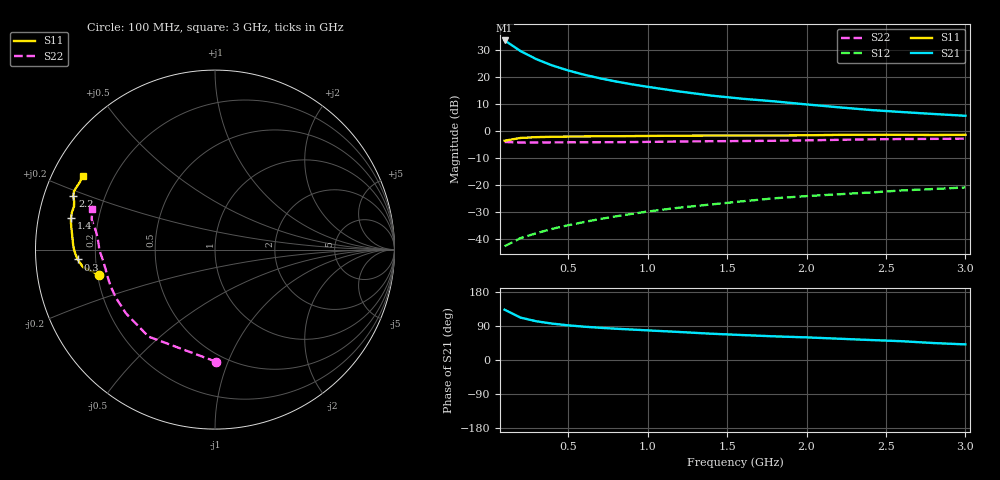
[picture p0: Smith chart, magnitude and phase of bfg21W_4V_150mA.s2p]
! Filename: 4150bfg21.001
! Title: BFG21W
! Bias: Vce=4V; Ic=150mA
! Company: Philips Semiconductors NL
! User: Quality&Reliability T&D
! Measure time: 10 Nov 1999 / 11:46:10
#  MHz  S  MA  R 50
! Freq  S11  S21  S12  S22  :
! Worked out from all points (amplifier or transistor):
!   20 points, 100 MHz to 3 GHz, reference 50 ohm
!   highest |S21| = 33.5 dB at 100 MHz (marker M1)
!   |S21| within 3 dB of that: start of sweep to 176.6 MHz
!   unconditionally stable (mu >= 1): 587.4 MHz to end of sweep
!   at 400 MHz: K = 0.92, MSG = 30.2 dB, |S12| = -36.2 dB
!   at 1.2 GHz: K = 1.06, MAG = 20.0 dB, |S12| = -28.4 dB
!   at 3 GHz: K = 1.05, MAG = 11.9 dB, |S12| = -20.9 dB
!   S11 on the Smith chart (normalised r, x): 100 MHz: 0.21, -0.10; 300 MHz: 0.13, -0.04; 1.4 GHz: 0.10, +0.11; 2.2 GHz: 0.09, +0.18; 3 GHz: 0.09, +0.26
100  0.6592 -167.7  47.22 132.7  0.007365 56.5  0.6246 -89.5
200  0.7417 -172.4  30.07 111.9  0.01037 54.8  0.61 -127.4
300  0.7672 -175.9  21.24 102.2  0.01279 58.6  0.6099 -144.3
400  0.7789 -178.4  16.28 96.1  0.01541 62.1  0.6133 -153.6
500  0.7865 179.7  13.15 91.5  0.01796 65.0  0.6155 -159.6
600  0.7911 177.9  10.97 88.0  0.02061 67.0  0.6167 -163.8
700  0.7946 176.3  9.421 85.1  0.02343 68.9  0.6175 -167.0
800  0.7982 174.8  8.222 82.5  0.02624 70.2  0.6192 -169.8
900  0.8023 173.3  7.292 80.4  0.02912 71.6  0.6226 -172.2
1000  0.8073 172.0  6.547 78.2  0.03224 72.1  0.6265 -174.3
1200  0.816 169.5  5.37 73.9  0.03803 73.0  0.6366 -177.7
1400  0.8215 167.6  4.508 69.4  0.04359 73.1  0.6452 179.5
1600  0.8239 165.3  3.933 65.8  0.04995 73.2  0.6498 176.9
1800  0.8216 162.9  3.518 62.4  0.05674 73.1  0.6576 174.3
2000  0.8297 161.1  3.094 59.7  0.0622 73.5  0.6695 171.5
2200  0.8452 159.2  2.741 56.3  0.06719 73.2  0.684 169.3
2400  0.8502 157.4  2.443 52.7  0.07249 72.3  0.6986 167.6
2600  0.8463 155.6  2.235 49.6  0.07921 71.1  0.7081 166.1
2800  0.8412 153.3  2.059 44.7  0.08415 69.3  0.7124 164.1
3000  0.8456 150.8  1.905 41.2  0.09 68.3  0.7194 161.7
